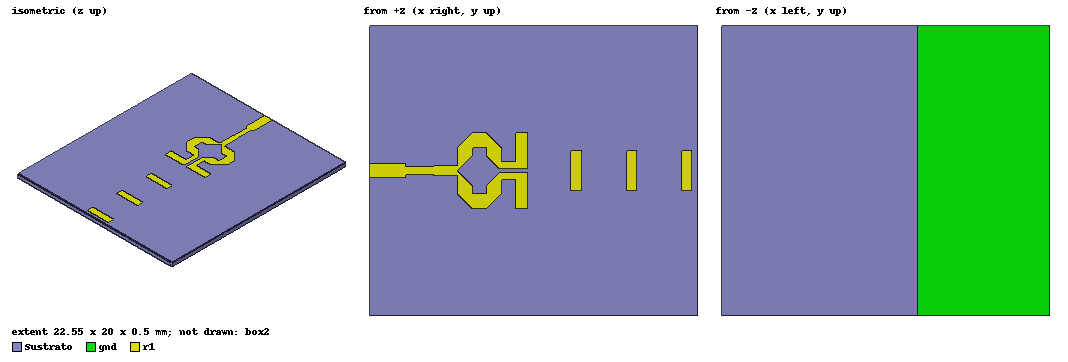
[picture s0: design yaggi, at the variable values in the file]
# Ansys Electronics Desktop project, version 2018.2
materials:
  vacuum: permittivity=1
  FR4_epoxy: permittivity=4.4 dielectric_loss_tangent=0.02

design yaggi (HFSS, DrivenModal, model units mm)
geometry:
  r1 = rectangle(corner=(0mm, -0.5mm, 0mm), x_size=2.5mm, y_size=1mm)
  r2 = rectangle(corner=(2.5mm, -0.27mm, 0mm), x_size=1.91mm, y_size=0.54mm)
  r3 = rectangle(corner=(4.41mm, -0.325mm, 0mm), x_size=1.64mm, y_size=0.65mm)
  r4 = rectangle(corner=(6.05mm, -2.595mm, 0mm), x_size=3mm, y_size=5.19mm)
  r5 = rectangle(corner=(9.05mm, -0.65mm, 0mm), x_size=1mm, y_size=1.3mm)
  r6 = rectangle(corner=(10.05mm, -2.595mm, 0mm), x_size=0.8mm, y_size=5.19mm)
  r7 = rectangle(corner=(13.85mm, -1.375mm, 0mm), x_size=0.72mm, y_size=2.75mm)
  r8 = rectangle(corner=(17.65mm, -1.375mm, 0mm), x_size=0.72mm, y_size=2.75mm)
  r9 = rectangle(corner=(21.45mm, -1.375mm, 0mm), x_size=0.72mm, y_size=2.75mm)
  Sustrato [FR4_epoxy] = box(corner=(0mm, -10mm, 0mm), size=(22.55mm, 20mm, -0.5mm))
  r1.unite(r2..r9)
  e1 = rectangle(corner=(7.55mm, -0.15mm, 0mm), x_size=3.3mm, y_size=0.3mm)
  e2 = polyline(z=0mm, xy in mm: (9.05, 0) (7.55, -1.5) (6.05, 0) (7.55, 1.5) (9.05, 0), closed, covered)
  e3 = rectangle(corner=(7.05mm, -1.595mm, 0mm), x_size=1mm, y_size=3.19mm)
  e4 = polyline(z=0mm, xy in mm: (9.05, -2.595) (9.05, -1.595) (8.05, -2.595) (9.05, -2.595), closed, covered)
  e5 = polyline(z=0mm, xy in mm: (9.05, 2.595) (9.05, 1.595) (8.05, 2.595) (9.05, 2.595), closed, covered)
  e6 = polyline(z=0mm, xy in mm: (6.05, -2.595) (7.05, -2.595) (6.05, -1.595) (6.05, -2.595), closed, covered)
  e7 = polyline(z=0mm, xy in mm: (6.05, 2.595) (7.05, 2.595) (6.05, 1.595) (6.05, 2.595), closed, covered)
  r1.subtract(e1..e7)
  gnd = rectangle(corner=(0mm, -10mm, -0.5mm), x_size=9.05mm, y_size=20mm)
  port = rectangle(corner=(0mm, -0.5mm, -0.5mm), y_size=1mm, z_size=0.5mm)
  box2 [vacuum] = box(corner=(-1mm, -11mm, -1mm), size=(24.55mm, 22mm, 10mm))
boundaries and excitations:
  Patch: Finite Conductivity Objects=r1 Conductivity=58000000 Permeability=1
  GND: Perfect E Objects=gnd InfGroundPlane
  rad1: Radiation Objects=box2
  puerto: Lumped Port Objects=port Modes{Mode1{IntLine{centre of port.face -> middle of port.edge(z opposite corner)} CharImp=Zpi}} Impedance=50ohm
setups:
  yaggi_uda: HfssDriven Frequency=5GHz MaxDeltaS=0.02 MaximumPasses=25 MinimumPasses=1 MinimumConvergedPasses=1 PercentRefinement=20 BasisOrder=1 PortAccuracy=2
    sweep SWEEP1: 3GHz to 7GHz, 101 points; Type=Interpolating InterpTolerance=0.5 InterpMaxSolns=101 InterpUsePortImped=false PassivityErrorTolerance=0.0001
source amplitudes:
  puerto:1: 1W 0deg
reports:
  Report 1: db(S(puerto,puerto)) vs Freq on yaggi_uda : SWEEP1
